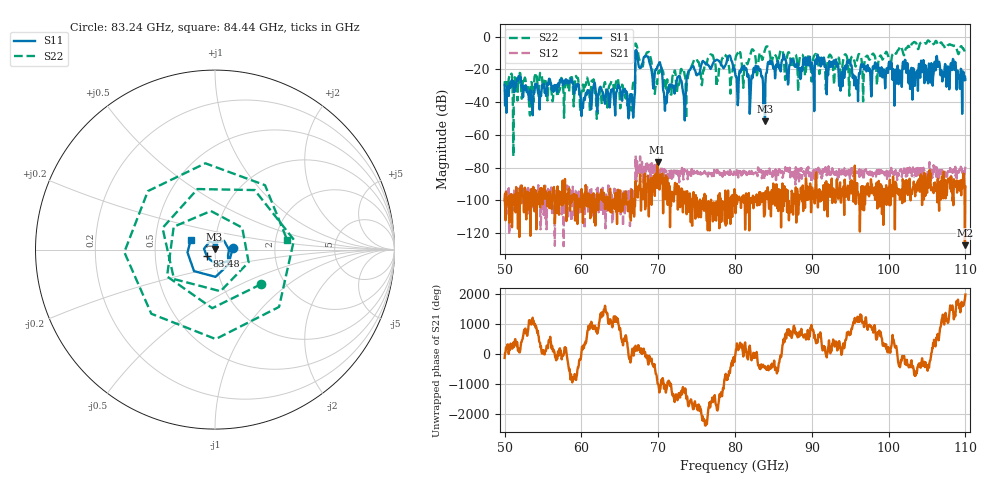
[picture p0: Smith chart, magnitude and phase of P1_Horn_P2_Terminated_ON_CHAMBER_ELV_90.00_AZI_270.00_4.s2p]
! 11/26/2026 11:16:33 AM
! C:\ANRITSUVNA\TEMP\TEMP.S2P
! CHANNEL.1
! TR.MEASUREMENT
! RAW.DATA
# HZ S RI R 50.0
! FREQ.HZ  S11RE  S11IM  S21RE  S21IM  S12RE  S12IM  S22RE  S22IM
!; PortSelection: Port_12
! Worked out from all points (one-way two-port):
!   1001 points, 50 GHz to 110 GHz, reference 50 ohm
!   highest |S21| = -76.80 dB at 69.92 GHz (marker M1); lowest = -127.4 dB at 109.9 GHz (marker M2)
!   lowest |S11| = -51.6 dB at 83.9 GHz (marker M3), VSWR 1.01, Z = 49.8 + j0.0907 ohm
!   |S11| at or under -10 dB: start of sweep to 67.04 GHz; 67.24 GHz to end of sweep
!   |S22| runs from -73.0 to -2.3 dB; largest |S21 - S12| = 0.00025
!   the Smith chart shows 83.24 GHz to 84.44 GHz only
!   S11 on the Smith chart (normalised r, x): 83.24 GHz: 1.22, +0.02; 83.48 GHz: 0.91, -0.06; 84.44 GHz: 0.76, +0.08
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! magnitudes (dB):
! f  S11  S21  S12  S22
! 50 GHz  -29.3  -100.1  -98.6  -27.4
! 58.46 GHz  -27.0  -101.2  -93.5  -28.8
! 60.02 GHz  -48.5  -93.1  -102.4  -33.9
! 66.26 GHz  -39.7  -103.7  -96.5  -36.1
! 66.68 GHz  -43.0  -107.5  -96.8  -30.4
! 67.34 GHz  -13.7  -98.2  -82.0  -8.5
! 69.92 GHz  -18.0  -76.8  -85.2  -25.2
! 70.04 GHz  -17.1  -87.0  -81.0  -21.0
! 71.06 GHz  -40.6  -93.2  -81.8  -30.7
! 74.84 GHz  -21.1  -111.1  -83.4  -13.8
! 75.92 GHz  -15.4  -98.4  -83.4  -20.7
! 80 GHz  -21.2  -95.5  -82.6  -15.6
! 83.24 GHz  -20.0  -102.6  -82.6  -9.9
! 83.48 GHz  -24.8  -98.6  -86.5  -13.3
! 83.9 GHz  -51.6  -107.9  -82.7  -8.0
! 84.44 GHz  -16.7  -105.1  -80.8  -7.8
! 90.02 GHz  -16.0  -92.1  -83.0  -24.1
! 94.88 GHz  -14.2  -95.2  -80.2  -36.1
! 95.78 GHz  -31.9  -90.1  -83.0  -17.1
! 100 GHz  -15.6  -91.9  -83.4  -13.5
! 109.9 GHz  -24.2  -127.4  -81.3  -9.5
! 110 GHz  -26.2  -91.6  -79.4  -10.9
